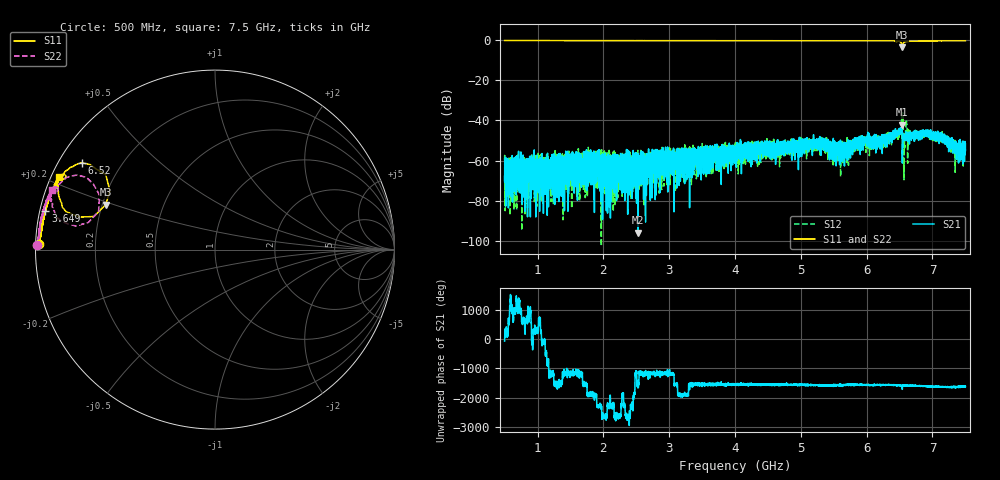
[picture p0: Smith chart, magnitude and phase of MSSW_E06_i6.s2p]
!Keysight Technologies,M9374A,MY55442783,A.12.55.05
!Date: Thursday, May 20, 2021 15:04:37
!Correction: S11(Full 2 Port(1,2))
!S21(Full 2 Port(1,2))
!S12(Full 2 Port(1,2))
!S22(Full 2 Port(1,2))
!S2P File: Measurements: S11, S21, S12, S22:
# Hz S  RI  R 50
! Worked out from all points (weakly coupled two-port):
!   7001 points, 500 MHz to 7.5 GHz, reference 50 ohm
!   highest |S21| = -42.10 dB at 6.534 GHz (marker M1); lowest = -96.0 dB at 2.53 GHz (marker M2)
!   lowest |S11| = -3.6 dB at 6.54 GHz (marker M3), VSWR 4.85, Z = 10.7 + j9.48 ohm
!   |S11| at or under -10 dB: nowhere
!   |S22| runs from -3.3 to -0.1 dB; largest |S21 - S12| = 0.015
!   S11 on the Smith chart (normalised r, x): 500 MHz: 0.01, +0.02; 3.649 GHz: 0.02, +0.11; 6.52 GHz: 0.06, +0.30; 7.5 GHz: 0.02, +0.22
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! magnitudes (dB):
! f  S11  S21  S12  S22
! 500 MHz  -0.2  -67.9  -59.9  -0.1
! 560 MHz  -0.2  -70.1  -64.2  -0.1
! 719 MHz  -0.2  -65.8  -59.4  -0.1
! 819 MHz  -0.2  -69.8  -65.9  -0.1
! 1.667 GHz  -0.2  -63.6  -65.0  -0.1
! 1.902 GHz  -0.2  -64.7  -58.7  -0.1
! 2.033 GHz  -0.2  -59.8  -62.9  -0.1
! 2.212 GHz  -0.2  -66.6  -61.9  -0.1
! 2.53 GHz  -0.3  -96.0  -69.8  -0.1
! 2.834 GHz  -0.3  -60.8  -57.5  -0.1
! 3.649 GHz  -0.3  -58.9  -57.2  -0.1
! 4 GHz  -0.3  -53.4  -57.1  -0.2
! 5.167 GHz  -0.3  -52.4  -54.0  -0.2
! 5.605 GHz  -0.3  -56.1  -61.4  -0.2
! 6.334 GHz  -0.3  -46.9  -47.5  -0.2
! 6.52 GHz  -1.0  -44.5  -45.2  -0.9
! 6.534 GHz  -3.2  -42.1  -45.9  -2.6
! 6.54 GHz  -3.6  -44.1  -40.5  -3.3
! 6.594 GHz  -0.7  -47.4  -42.9  -0.6
! 6.619 GHz  -0.6  -47.5  -49.7  -0.5
! 6.921 GHz  -0.4  -48.1  -46.1  -0.3
! 7.5 GHz  -0.4  -51.7  -55.4  -0.3
